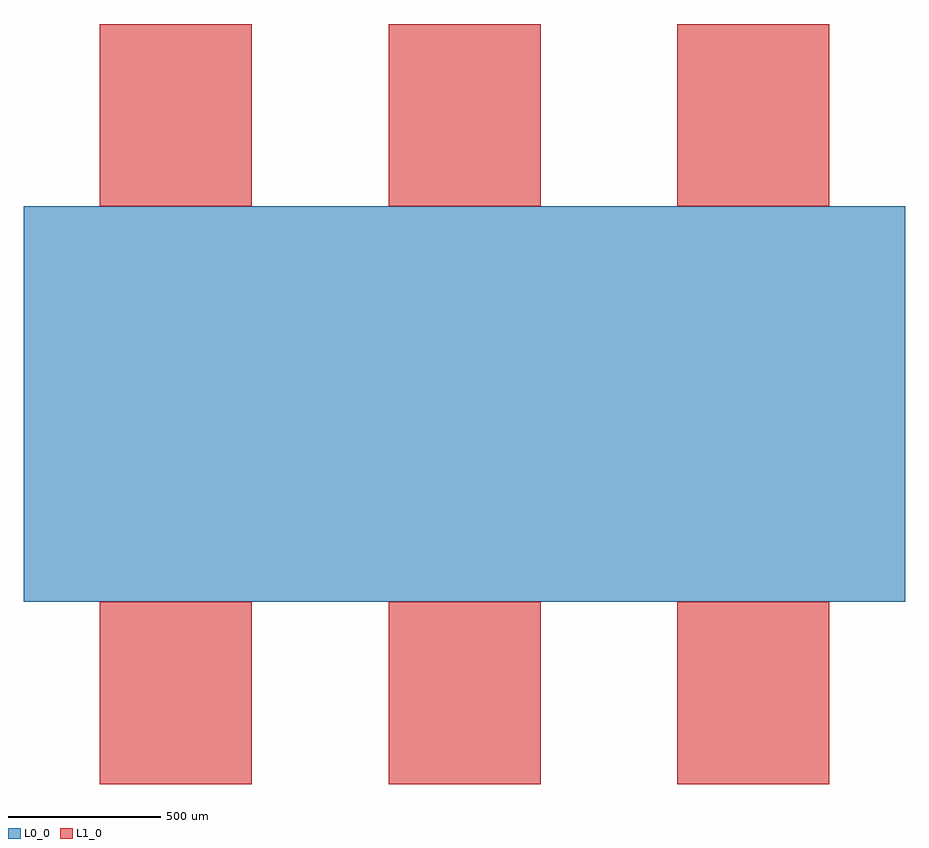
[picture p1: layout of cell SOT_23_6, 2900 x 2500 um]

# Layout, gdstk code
import gdstk
lib = gdstk.Library(unit=1e-6, precision=1e-09)
def R(c, l, rs):  # rectangles x0, y0, x1, y1
    for r in rs: c.add(gdstk.rectangle(r[:2], r[2:], *l))
def A(c, l, x, y, w, h, nx, ny, dx, dy):  # array of equal rectangles
    R(c, l, [(x+i*dx, y+j*dy, x+i*dx+w, y+j*dy+h) for i in range(nx) for j in range(ny)])
L0_0 = (0, 0)
L1_0 = (1, 0)
L99_1 = (99, 1)
L99_2 = (99, 2)
L99_3 = (99, 3)
L99_4 = (99, 4)
L99_5 = (99, 5)

sot_23_6 = lib.new_cell('SOT_23_6')
R(sot_23_6, L0_0, [(0,0,2900,1300)])
A(sot_23_6, L1_0, 250, -600, 500, 600, 3, 2, 950, 1900)
sot_23_6.add(gdstk.FlexPath([(750,0),(250,0)], 0, ends="round", simple_path=True, layer=99, datatype=1))  # L99_1
sot_23_6.add(gdstk.FlexPath([(1700,0),(1200,0)], 0, ends="round", simple_path=True, layer=99, datatype=2))  # L99_2
sot_23_6.add(gdstk.FlexPath([(2150,1300),(2650,1300)], 0, ends="round", simple_path=True, layer=99, datatype=4))  # L99_4
sot_23_6.add(gdstk.FlexPath([(2650,0),(2150,0)], 0, ends="round", simple_path=True, layer=99, datatype=3))  # L99_3
sot_23_6.add(gdstk.FlexPath([(250,1300),(750,1300)], 0, ends="round", simple_path=True, layer=99, datatype=5))  # L99_5
sot_23_6.add(gdstk.FlexPath([(1200,1300),(1700,1300)], 0, ends="round", simple_path=True, layer=99, datatype=5))  # L99_5

lib.write_gds('SOT_23_6.gds')
